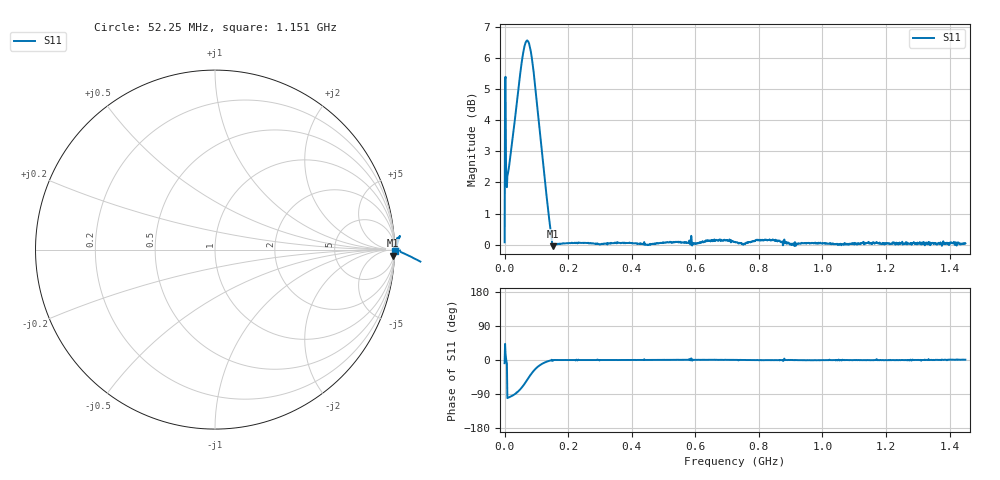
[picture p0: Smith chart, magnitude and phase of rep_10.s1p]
! Created with skrf 1.11.0 (http://scikit-rf.org).
# Hz S RI R 50.0
!freq ReS11 ImS11
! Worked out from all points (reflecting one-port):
!   1001 points, 50 kHz to 1.45 GHz, reference 50 ohm
!   lowest |S11| = -0.1 dB at 152.3 MHz (marker M1), VSWR 338.30, Z = 503 - j2.87e+03 ohm
!   phase of S11 starts at -8 deg and turns +9 deg over the sweep
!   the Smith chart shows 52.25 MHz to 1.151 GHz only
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50000  0.9976 -0.148
8749700  -0.2357 -1.267
1.019965e7  -0.2249 -1.279
1.16496e7  -0.2152 -1.293
1.599945e7  -0.1854 -1.347
2.759905e7  -0.0708 -1.512
3.77487e7  0.1318 -1.678
4.64484e7  0.3241 -1.807
5.659805e7  0.6875 -1.888
6.38478e7  0.9968 -1.846
6.96476e7  1.243 -1.73
7.54474e7  1.448 -1.545
7.979725e7  1.561 -1.376
8.849695e7  1.662 -1.021
9.429675e7  1.653 -0.8027
1.015465e8  1.594 -0.5766
1.16046e8  1.404 -0.2722
1.334454e8  1.177 -0.083
1.45045e8  1.05 -0.02
1.522948e8  0.9935 -0.0336
1.812938e8  1.003 -0.00178
3.625375e8  1.006 0.00101
5.437812e8  1.009 0.00901
7.25025e8  1.01 0.00231
9.062688e8  1.003 -0.00372
1.087512e9  1.002 -0.00172
1.268756e9  1.003 -0.0169
1.45e9  1.004 0.0129
